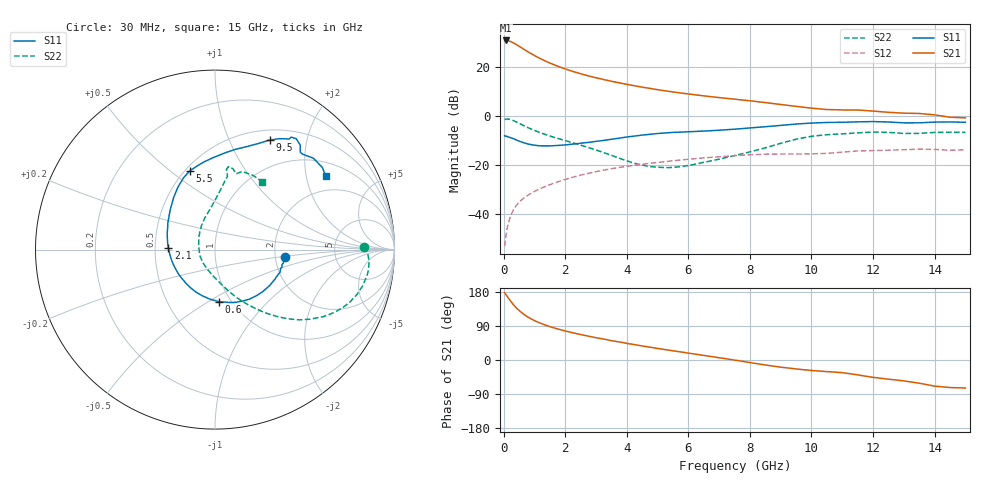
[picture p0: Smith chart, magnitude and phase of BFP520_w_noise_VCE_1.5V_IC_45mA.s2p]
! Infineon Technologies  Discrete & RF Semiconductors
! BFP520
! VCE =  1.5 V,  IC =  45 mA
! Common Emitter S-Parameters:  Oct 2015
# GHz  S  MA  R  50
!  f  S11  S21  S12  S22
! GHz  MAG  ANG  MAG  ANG  MAG  ANG  MAG  ANG
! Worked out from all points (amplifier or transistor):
!   109 points, 30 MHz to 15 GHz, reference 50 ohm
!   highest |S21| = 30.8 dB at 70 MHz (marker M1)
!   |S21| within 3 dB of that: start of sweep to 581.6 MHz
!   unconditionally stable (mu >= 1): start of sweep to 63.65 MHz; 1.579 GHz to end of sweep
!   at 450 MHz: K = 0.57, MSG = 32.4 dB, |S12| = -36.0 dB
!   at 4 GHz: K = 1.22, MAG = 13.9 dB, |S12| = -20.6 dB
!   at 15 GHz: K = 1.33, MAG = 3.1 dB, |S12| = -13.8 dB
!   lowest NFmin = 3.07 dB at 450 MHz
!   S11 on the Smith chart (normalised r, x): 30 MHz: 2.27, -0.23; 600 MHz: 0.88, -0.56; 2.1 GHz: 0.59, +0.01; 5.5 GHz: 0.53, +0.59; 9.5 GHz: 0.62, +1.43; 15 GHz: 1.44, +2.60
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0.03  0.3942 -6.3  34.39 177.7  0.0022 110.7  0.8309 1.0
0.07  0.3824 -12.8  34.6 172.9  0.0035 91.6  0.8554 -2.7
0.14  0.3736 -24.2  34.15 164.9  0.006 84.2  0.8606 -8.9
0.2  0.364 -33.7  33.29 158.1  0.0082 80.5  0.847 -13.8
0.3  0.3453 -48.2  31.24 147.7  0.0116 75.9  0.807 -21.1
0.35  0.3359 -55.4  30.05 143.0  0.0131 74.2  0.7826 -24.3
0.45  0.3159 -68.3  27.59 134.5  0.0159 71.4  0.7314 -29.7
0.6  0.2908 -85.6  24.09 123.9  0.0198 68.7  0.6564 -36.2
0.7  0.2774 -96.1  21.99 117.9  0.0221 67.4  0.6116 -39.8
0.9  0.259 -114.3  18.5 108.2  0.0266 65.7  0.5366 -45.1
1.2  0.2451 -136.8  14.66 96.9  0.033 64.1  0.4522 -51.3
1.6  0.2462 -160.4  11.28 85.6  0.0417 62.0  0.3718 -57.7
2.1  0.2596 177.9  8.663 74.8  0.0528 59.0  0.3008 -64.7
2.6  0.2819 160.9  6.95 65.4  0.064 55.3  0.2428 -71.9
3.5  0.3339 138.3  5.084 51.1  0.0837 47.3  0.1568 -90.5
5.1  0.4419 112.2  3.353 29.2  0.1141 32.6  0.0892 -163.9
5.5  0.4609 107.6  3.078 24.2  0.1215 29.1  0.0893 177.4
7.6  0.542 84.0  2.161 -1.5  0.1557 8.9  0.1603 116.4
9.5  0.682 63.5  1.564 -23.6  0.1671 -9.5  0.3345 84.7
10.5  0.734 57.2  1.348 -30.6  0.1719 -14.2  0.4133 80.4
13  0.7212 48.8  1.138 -55.2  0.2045 -35.6  0.4379 74.5
15  0.7401 33.6  0.913 -73.9  0.2041 -52.0  0.4614 55.2
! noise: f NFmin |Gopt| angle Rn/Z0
0.45  3.07  0.16  -154  0.29
0.9  3.08  0.17  -149  0.32
1.9  3.17  0.24  -125  0.36
2.4  3.18  0.24  -123  0.34
3.5  3.14  0.23  -108  0.41
